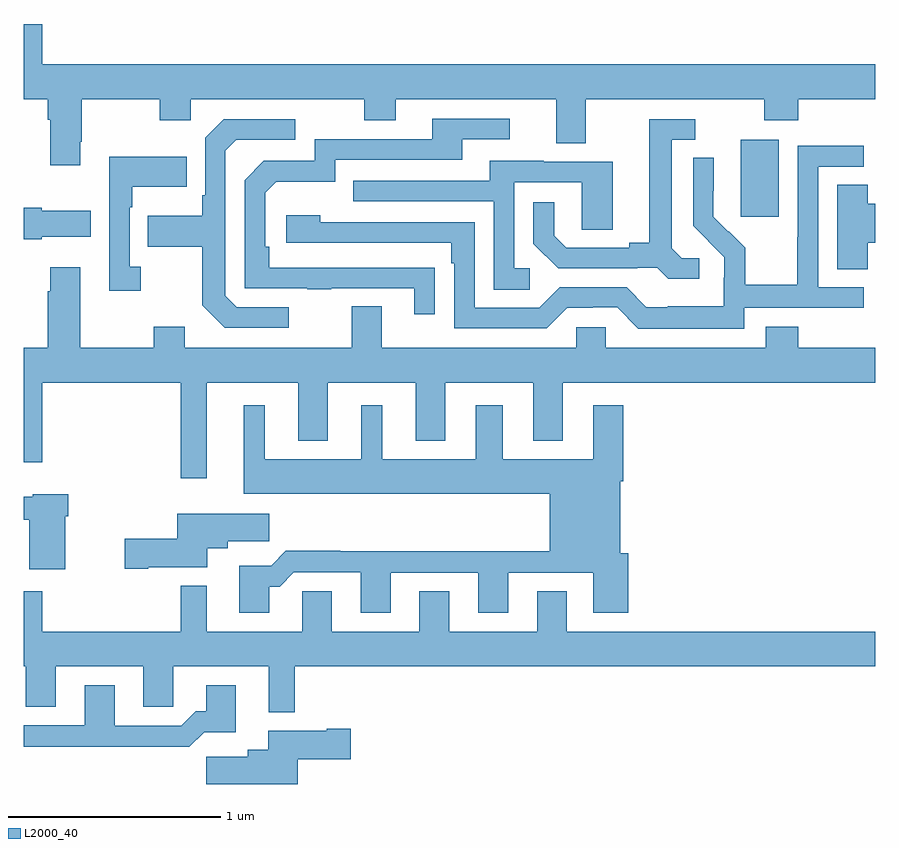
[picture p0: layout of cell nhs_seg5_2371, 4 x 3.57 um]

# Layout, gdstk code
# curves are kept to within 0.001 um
import gdstk
lib = gdstk.Library(unit=1e-6, precision=1e-09)
def R(c, l, rs):  # rectangles x0, y0, x1, y1
    for r in rs: c.add(gdstk.rectangle(r[:2], r[2:], *l))
def P(c, l, *ps):  # polygons
    for p in ps: c.add(gdstk.Polygon(p, *l))
L2000_40 = (2000, 40)

nhs_seg5_2371 = lib.new_cell('nhs_seg5_2371')
R(nhs_seg5_2371, L2000_40, [(252.368,853.545,252.547,853.906)])
P(nhs_seg5_2371, L2000_40, [(249.265,853.897),(249.273,853.897),(249.273,854.096),(249.64,854.096),(249.64,853.997),(249.786,853.997),(249.786,854.096),(250.6,854.096),(250.6,853.997),(250.747,853.997),(250.747,854.096),(251.501,854.096),(251.501,853.888),(251.641,853.888),(251.641,854.096),(252.478,854.096),(252.478,853.997),(252.638,853.997),(252.638,854.096),(253,854.096),(253,854.26),(249.088,854.26),(249.088,854.449),(249,854.449),(249,854.096),(249.113,854.096),(249.113,854),(249.125,854),(249.125,853.785),(249.265,853.785)],
  [(250.931,853.304),(250.154,853.305),(250.154,853.402),(250.134,853.402),(250.134,853.656),(250.187,853.709),(250.464,853.709),(250.464,853.812),(251.059,853.812),(251.059,853.908),(251.284,853.908),(251.284,854.004),(250.919,854.004),(250.919,853.908),(250.368,853.908),(250.368,853.806),(250.128,853.806),(250.038,853.716),(250.038,853.209),(250.333,853.209),(250.333,853.204),(250.445,853.204),(250.445,853.209),(250.835,853.209),(250.835,853.086),(250.931,853.086)],
  [(250.246,853.119),(250.002,853.119),(249.948,853.173),(249.948,853.854),(249.999,853.905),(250.276,853.905),(250.276,854.001),(249.939,854.001),(249.852,853.914),(249.852,853.645),(249.84,853.645),(249.84,853.549),(249.583,853.549),(249.583,853.402),(249.84,853.402),(249.84,853.129),(249.945,853.023),(250.246,853.023)],
  [(252.172,853.35),(252.09,853.35),(252.043,853.397),(252.043,853.905),(252.154,853.905),(252.154,854.001),(251.939,854.001),(251.939,853.421),(251.843,853.421),(251.843,853.398),(251.548,853.398),(251.491,853.455),(251.491,853.612),(251.394,853.612),(251.394,853.418),(251.51,853.302),(251.882,853.302),(251.882,853.305),(251.976,853.305),(252.028,853.253),(252.172,853.253)],
  [(252.384,853.116),(252.946,853.116),(252.946,853.212),(252.732,853.212),(252.732,853.779),(252.946,853.779),(252.946,853.878),(252.636,853.878),(252.636,853.448),(252.634,853.448),(252.634,853.225),(252.389,853.225),(252.389,853.399),(252.312,853.476),(252.309,853.473),(252.239,853.544),(252.24,853.82),(252.144,853.82),(252.144,853.502),(252.29,853.354),(252.29,853.257),(252.288,853.257),(252.288,853.123),(252.025,853.123),(252.025,853.119),(251.925,853.119),(251.832,853.212),(251.517,853.212),(251.421,853.116),(251.118,853.116),(251.118,853.518),(250.394,853.518),(250.394,853.552),(250.233,853.552),(250.233,853.422),(251.009,853.422),(251.009,853.325),(251.022,853.325),(251.022,853.02),(251.457,853.02),(251.553,853.116),(251.672,853.116),(251.672,853.119),(251.787,853.119),(251.887,853.019),(252.384,853.019)],
  [(249.55,853.31),(249.498,853.31),(249.498,853.589),(249.511,853.589),(249.511,853.685),(249.767,853.685),(249.767,853.825),(249.402,853.825),(249.402,853.197),(249.55,853.197)],
  [(251.377,853.302),(251.304,853.302),(251.304,853.707),(251.622,853.707),(251.622,853.483),(251.767,853.483),(251.767,853.803),(251.443,853.803),(251.443,853.807),(251.189,853.807),(251.189,853.713),(250.549,853.713),(250.549,853.617),(251.208,853.617),(251.208,853.201),(251.377,853.201)],
  [(252.965,853.421),(253,853.421),(253,853.604),(252.965,853.604),(252.965,853.694),(252.821,853.694),(252.821,853.297),(252.965,853.297)],
  [(249.085,853.451),(249.316,853.451),(249.316,853.573),(249.085,853.573),(249.085,853.586),(249,853.586),(249,853.439),(249.085,853.439)],
  [(249.859,852.764),(250.289,852.764),(250.289,852.491),(250.429,852.491),(250.429,852.764),(250.841,852.764),(250.841,852.491),(250.981,852.491),(250.981,852.764),(251.393,852.764),(251.393,852.491),(251.533,852.491),(251.533,852.764),(253,852.764),(253,852.928),(252.638,852.928),(252.638,853.027),(252.485,853.027),(252.485,852.928),(251.733,852.928),(251.733,853.026),(251.595,853.026),(251.595,852.928),(250.681,852.928),(250.681,853.123),(250.541,853.123),(250.541,852.928),(249.757,852.928),(249.757,853.027),(249.61,853.027),(249.61,852.928),(249.265,852.928),(249.265,853.306),(249.125,853.306),(249.125,853.193),(249.113,853.193),(249.113,852.928),(249,852.928),(249,852.39),(249.088,852.39),(249.088,852.764),(249.738,852.764),(249.738,852.315),(249.859,852.315)],
  [(250.153,851.807),(250.202,851.807),(250.269,851.874),(250.583,851.874),(250.583,851.685),(250.723,851.685),(250.723,851.871),(251.135,851.871),(251.135,851.685),(251.275,851.685),(251.275,851.871),(251.675,851.871),(251.675,851.685),(251.84,851.685),(251.84,851.964),(251.803,851.964),(251.803,852.302),(251.816,852.302),(251.816,852.658),(251.675,852.658),(251.675,852.406),(251.251,852.406),(251.251,852.658),(251.123,852.658),(251.123,852.406),(250.684,852.406),(250.684,852.658),(250.586,852.658),(250.586,852.406),(250.132,852.406),(250.132,852.658),(250.034,852.658),(250.034,852.242),(251.471,852.242),(251.471,851.972),(250.487,851.972),(250.487,851.975),(250.232,851.975),(250.162,851.905),(250.013,851.905),(250.013,851.685),(250.153,851.685)],
  [(249.196,852.137),(249.209,852.137),(249.209,852.241),(249.042,852.241),(249.042,852.229),(249,852.229),(249,852.12),(249.026,852.12),(249.026,851.889),(249.196,851.889)],
  [(249.586,851.897),(249.862,851.897),(249.862,851.987),(249.958,851.987),(249.958,852.019),(250.153,852.019),(250.153,852.148),(249.722,852.148),(249.722,852.032),(249.474,852.032),(249.474,851.89),(249.586,851.89)],
  [(250.273,851.432),(253,851.432),(253,851.596),(251.551,851.596),(251.551,851.786),(251.411,851.786),(251.411,851.596),(250.999,851.596),(250.999,851.786),(250.859,851.786),(250.859,851.596),(250.447,851.596),(250.447,851.786),(250.308,851.786),(250.308,851.596),(249.859,851.596),(249.859,851.812),(249.738,851.812),(249.738,851.596),(249.088,851.596),(249.088,851.785),(249,851.785),(249,851.432),(249.011,851.432),(249.011,851.242),(249.151,851.242),(249.151,851.432),(249.563,851.432),(249.563,851.242),(249.702,851.242),(249.702,851.432),(250.151,851.432),(250.151,851.216),(250.273,851.216)],
  [(249.848,851.123),(249.997,851.123),(249.997,851.344),(249.857,851.344),(249.857,851.221),(249.808,851.221),(249.741,851.154),(249.427,851.154),(249.427,851.344),(249.287,851.344),(249.287,851.157),(249,851.157),(249,851.056),(249.523,851.056),(249.523,851.054),(249.779,851.054)],
  [(250.288,850.997),(250.537,850.997),(250.537,851.139),(250.424,851.139),(250.424,851.131),(250.148,851.131),(250.148,851.041),(250.052,851.041),(250.052,851.009),(249.858,851.009),(249.858,850.88),(250.288,850.88)])

lib.write_gds('nhs_seg5_2371.gds')
